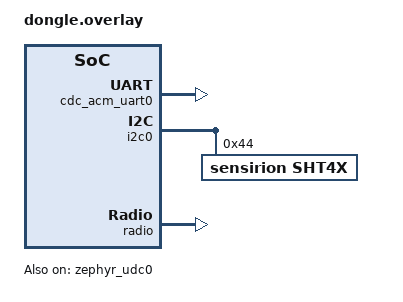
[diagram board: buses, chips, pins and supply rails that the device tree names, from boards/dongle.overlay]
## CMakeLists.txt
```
cmake_minimum_required(VERSION 3.20.0)
find_package(Zephyr REQUIRED HINTS $ENV{ZEPHYR_BASE})

project(beacon3-dongle)

# Enable generation of compile_commands.json
set(CMAKE_EXPORT_COMPILE_COMMANDS ON)

FILE(GLOB app_sources src/*.c src/app/*.c)
target_sources(app PRIVATE ${app_sources})
```

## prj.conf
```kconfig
############ Power Management configs (uncomment for low-power optimization)
# CONFIG_SERIAL=n
# CONFIG_CONSOLE=n
# Logging config - Set to n to disable logging and reduce power consumption
# CONFIG_LOG=n
############ Power Management configs (uncomment for low-power optimization)
CONFIG_LOG=y

CONFIG_MAIN_STACK_SIZE=2048

# Bluetooth configs
CONFIG_BT=y
CONFIG_BT_OBSERVER=y
CONFIG_BT_BROADCASTER=y
CONFIG_BT_EXT_ADV=y
CONFIG_BT_PER_ADV_SYNC=y

CONFIG_BT_MAX_CONN=1
CONFIG_BT_PERIPHERAL=y
CONFIG_BT_PER_ADV_SYNC_TRANSFER_SENDER=y
CONFIG_BT_PER_ADV_SYNC_TRANSFER_RECEIVER=y

CONFIG_BT_PER_ADV_SYNC_RSP=y
CONFIG_BT_PER_ADV_SYNC_BUF_SIZE=247

# State machine framework
CONFIG_SMF=y

# Enable Power Management Features
CONFIG_PM=y
CONFIG_PM_DEVICE=y
CONFIG_PM_DEVICE_RUNTIME=y

# Set BT constants to support sleep

# Sensor configs
CONFIG_CBPRINTF_FP_SUPPORT=y
CONFIG_I2C=y
CONFIG_SENSOR=y
CONFIG_SHT4X=y

# GPIO and LED configs
CONFIG_GPIO=y
CONFIG_DK_LIBRARY=y

# Display configs - DISABLED
CONFIG_DISPLAY=n

# LVGL configs - DISABLED
CONFIG_LVGL=n
CONFIG_LV_MEM_CUSTOM=n
CONFIG_LV_USE_QRCODE=n
CONFIG_LV_USE_LOG=n
CONFIG_LV_USE_LABEL=n
CONFIG_LV_USE_BTN=n
CONFIG_LV_USE_ARC=n
CONFIG_LV_USE_IMG=n
CONFIG_LV_USE_MONKEY=n
CONFIG_LV_FONT_MONTSERRAT_14=n
CONFIG_LV_FONT_MONTSERRAT_20=n
# CONFIG_LV_Z_VDB_SIZE=100
# CONFIG_LV_Z_MEM_POOL_SIZE=16384

# USB CDC ACM Configuration
CONFIG_USB_DEVICE_STACK=y
CONFIG_USB_DEVICE_PRODUCT="Beacon3 Dongle"
CONFIG_USB_DEVICE_MANUFACTURER="Novel Bits"
CONFIG_USB_DEVICE_VID=0x2FE3
CONFIG_USB_DEVICE_PID=0x100
CONFIG_USB_DEVICE_SN="123456789"

# Extended advertising and Coded PHY
CONFIG_BT_CTLR_PHY_CODED=y
CONFIG_BT_CTLR_ADV_EXT=y
CONFIG_BT_USER_PHY_UPDATE=y

# Enable Periodic Advertising with Responses (PAwR)
CONFIG_BT_PER_ADV=y
CONFIG_BT_PER_ADV_SYNC=y
CONFIG_BT_PER_ADV_RSP=y
CONFIG_BT_PER_ADV_SYNC_RSP=y
CONFIG_BT_EXT_ADV=y
CONFIG_BT_PAC_SNK=n
CONFIG_BT_PAC_SRC=n

# System work queue
CONFIG_SYSTEM_WORKQUEUE_STACK_SIZE=2048

# Buttons and LEDs
CONFIG_DK_LIBRARY=y

# Logging
CONFIG_LOG=n
CONFIG_USE_SEGGER_RTT=n
CONFIG_RTT_CONSOLE=n
CONFIG_PRINTK=n

# Power management 
CONFIG_PM=y
CONFIG_PM_DEVICE=y

# Work scheduler for sleep cycles
CONFIG_SYSTEM_WORKQUEUE_STACK_SIZE=2048
CONFIG_MAIN_STACK_SIZE=2048

# UART configuration
CONFIG_SERIAL=y
CONFIG_UART_CONSOLE=y
CONFIG_CONSOLE=y
CONFIG_UART_ASYNC_API=n
CONFIG_UART_INTERRUPT_DRIVEN=n
CONFIG_UART_LINE_CTRL=n

CONFIG_HEAP_MEM_POOL_SIZE=16384
CONFIG_MAIN_STACK_SIZE=4096
CONFIG_SYSTEM_WORKQUEUE_STACK_SIZE=2048
CONFIG_ISR_STACK_SIZE=4096
CONFIG_BT_HCI_TX_STACK_SIZE=2048
CONFIG_BT_RX_STACK_SIZE=2048

# Bluetooth buffer sizes (adjust as needed)
CONFIG_BT_BUF_EVT_RX_COUNT=16
CONFIG_BT_BUF_EVT_RX_SIZE=255
CONFIG_BT_BUF_ACL_RX_SIZE=255
CONFIG_BT_BUF_ACL_TX_SIZE=251
CONFIG_BT_BUF_CMD_TX_SIZE=255
```

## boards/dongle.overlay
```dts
/*
 * Copyright (c) 2024 Novel Bits, LLC
 *
 * SPDX-License-Identifier: MIT License
 */

/ {
	chosen {
		zephyr,console = &cdc_acm_uart0;
	};
};

&zephyr_udc0 {
	cdc_acm_uart0: cdc_acm_uart0 {
		compatible = "zephyr,cdc-acm-uart";
	};
	status = "okay";
};

&pinctrl {
	/* Add any specific pin configurations for the dongle hardware here */
};

/* I2C configuration for the SHT4X sensor */
&i2c0 {
	status = "okay";
	sht4x@44 {
		compatible = "sensirion,sht4x";
		reg = <0x44>;
		repeatability = <2>;  /* Medium repeatability */
	};
};

/* BLE antenna configuration if needed */
&radio {
	status = "okay";
}; 
```

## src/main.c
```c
/*
 * Copyright (c) 2024 Novel Bits, LLC
 *
 * SPDX-License-Identifier: MIT License
 */

#include <stdbool.h>
#include <zephyr/kernel.h>
#include <zephyr/sys/printk.h>
#include <dk_buttons_and_leds.h>
#include <zephyr/usb/usb_device.h>
#include <zephyr/drivers/uart.h>
#include "app/device_id.h"
#include "app/sensor_node_sm.h"
#include "app/ble_interface.h"

// Define delay for main loop
#define LOOP_DELAY_MS 100 // Shorter regular loop delay for more responsive sleep detection
#define LED_ACTIVE_INDICATOR DK_LED3

// Sensor data - Replace with fixed payload
uint32_t fixed_payload;

// Add the handle_sleep_request function declaration
extern void handle_sleep_request(void);

int main(void)
{
    int err;
    
    // Initialize USB
    err = usb_enable(NULL);
    if (err) {
        printk("USB init failed (err: %d)\n", err);
    } else {
        printk("USB initialized successfully\n");
    }
    
    printk("Initializing Simplified Beacon [Device #%d]\n", DEVICE_ID);

    // Initialize LEDs
    err = dk_leds_init();
    if (err) {
        printk("LEDs init failed (err: %d)\n", err);
    }
    
    // Turn off all LEDs initially
    dk_set_leds(0x00);
    
    // Turn on LED3 to indicate active (not sleeping) state
    dk_set_led_on(LED_ACTIVE_INDICATOR);

    // Initialize with fixed sensor data - Replace with fixed payload initialization
    fixed_payload = 0xAABBCC00 | DEVICE_ID; // Example fixed payload
    printk("Fixed payload set to: 0x%08X\n", fixed_payload);

    // Initialize BLE
    ble_init();

    // Register callbacks for periodic adv sync
    ble_register_periodic_adv_sync_callbacks();

    // Initialize State Machine
    sensor_node_sm_init();

    printk("Starting main loop - waiting for connection and data requests\n");

    do {
        // Run the state machine
        if (sensor_node_sm_run())
        {
            /* handle return code and terminate state machine */
            printk("Error running state machine\n");
            break;
        }

        // Check for sleep requests from central and handle them
        handle_sleep_request();
        
        // Check if data was successfully transmitted
        if (ble_check_and_clear_tx_success_signal()) {
            // Indicate success with a brief LED flash
            dk_set_led_on(DK_LED2);
            k_sleep(K_MSEC(50));
            dk_set_led_off(DK_LED2);
            
            printk("Data transmitted successfully\n");
        }
        
        // Short delay for main loop
        k_msleep(LOOP_DELAY_MS);

    } while (true);

    return 0;
}
```
